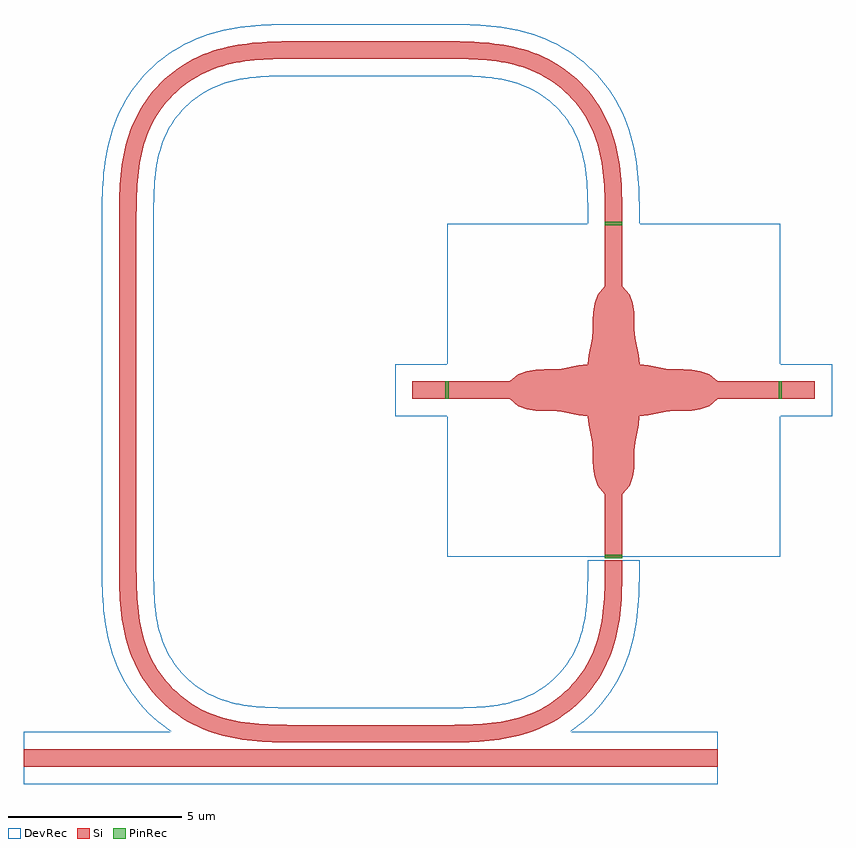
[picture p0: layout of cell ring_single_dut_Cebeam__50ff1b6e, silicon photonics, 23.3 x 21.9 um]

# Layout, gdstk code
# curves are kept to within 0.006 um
from math import pi, radians
import gdstk
lib = gdstk.Library(unit=1e-6, precision=1e-09)
def R(c, l, rs):  # rectangles x0, y0, x1, y1
    for r in rs: c.add(gdstk.rectangle(r[:2], r[2:], *l))
def P(c, l, *ps):  # polygons
    for p in ps: c.add(gdstk.Polygon(p, *l))
Si = (1, 0)
PinRec = (1, 10)
DevRec = (68, 0)

bend_euler_r5_a90_p0p5__ = lib.new_cell('bend_euler_R5_A90_P0p5__6fefacb1')
P(bend_euler_r5_a90_p0p5__, Si, [(0,-0.25),(0,0.25),(0.823,0.26),(1.36,0.294),(1.625,0.326),(1.886,0.37),(2.268,0.462),(2.634,0.59),(2.894,0.711),(3.02,0.78),(3.142,0.854),(3.376,1.018),(3.596,1.202),(3.699,1.301),(3.798,1.404),(3.982,1.624),(4.146,1.858),(4.22,1.98),(4.289,2.106),(4.41,2.366),(4.538,2.732),(4.63,3.114),(4.674,3.375),(4.706,3.64),(4.74,4.177),(4.75,5),(5.25,5),(5.24,4.159),(5.203,3.59),(5.169,3.304),(5.121,3.018),(5.018,2.592),(4.872,2.174),(4.806,2.023),(4.653,1.73),(4.568,1.589),(4.379,1.319),(4.167,1.067),(4.053,0.947),(3.933,0.833),(3.681,0.621),(3.411,0.432),(3.27,0.347),(3.125,0.267),(2.826,0.128),(2.408,-0.018),(1.982,-0.121),(1.696,-0.169),(1.41,-0.203),(0.841,-0.24)])
P(bend_euler_r5_a90_p0p5__, DevRec, [(0,-0.75),(0,0.75),(0.675,0.755),(1.061,0.772),(1.434,0.805),(1.673,0.839),(1.905,0.884),(2.236,0.975),(2.554,1.101),(2.873,1.276),(3.072,1.415),(3.258,1.571),(3.429,1.742),(3.657,2.026),(3.845,2.337),(3.948,2.558),(4.025,2.764),(4.089,2.983),(4.14,3.21),(4.208,3.689),(4.241,4.195),(4.25,5),(5.75,5),(5.74,4.142),(5.701,3.541),(5.664,3.234),(5.612,2.923),(5.498,2.452),(5.45,2.295),(5.334,1.982),(5.259,1.812),(5.086,1.48),(4.886,1.165),(4.775,1.015),(4.658,0.869),(4.406,0.594),(4.131,0.342),(3.985,0.225),(3.835,0.114),(3.52,-0.086),(3.188,-0.259),(3.018,-0.334),(2.705,-0.45),(2.548,-0.498),(2.077,-0.612),(1.766,-0.664),(1.459,-0.701),(0.858,-0.74)])

straight_l5_n2_csxs_sc = lib.new_cell('straight_L5_N2_CSxs_sc')
R(straight_l5_n2_csxs_sc, Si, [(0,-0.25,5,0.25)])
R(straight_l5_n2_csxs_sc, DevRec, [(0,-0.75,5,0.75)])

coupler90_g0p2_r5_bbend_ = lib.new_cell('coupler90_G0p2_R5_Bbend_35c79a67')
coupler90_g0p2_r5_bbend_.add(gdstk.Reference(bend_euler_r5_a90_p0p5__, (0,0.7)))
coupler90_g0p2_r5_bbend_.add(gdstk.Reference(straight_l5_n2_csxs_sc, (0,0)))

straight_l4_n2_csxs_sc = lib.new_cell('straight_L4_N2_CSxs_sc')
R(straight_l4_n2_csxs_sc, Si, [(0,-0.25,4,0.25)])
R(straight_l4_n2_csxs_sc, DevRec, [(0,-0.75,4,0.75)])

coupler_straight_l4_g0p2 = lib.new_cell('coupler_straight_L4_G0p2_CSxs_sc')
coupler_straight_l4_g0p2.add(gdstk.Reference(straight_l4_n2_csxs_sc, (0,0.7)))
coupler_straight_l4_g0p2.add(gdstk.Reference(straight_l4_n2_csxs_sc, (0,0)))

straight_l3_n2_csxs_sc = lib.new_cell('straight_L3_N2_CSxs_sc')
R(straight_l3_n2_csxs_sc, Si, [(0,-0.25,3,0.25)])
R(straight_l3_n2_csxs_sc, DevRec, [(0,-0.75,3,0.75)])

coupler_ring_g0p2_r5_lx_ = lib.new_cell('coupler_ring_G0p2_R5_LX_4f8af539')
coupler_ring_g0p2_r5_lx_.add(gdstk.Reference(coupler90_g0p2_r5_bbend_, (-4,0), rotation=pi, x_reflection=True))
coupler_ring_g0p2_r5_lx_.add(gdstk.Reference(coupler90_g0p2_r5_bbend_, (0,0)))
coupler_ring_g0p2_r5_lx_.add(gdstk.Reference(coupler_straight_l4_g0p2, (-4,0)))
coupler_ring_g0p2_r5_lx_.add(gdstk.Reference(straight_l3_n2_csxs_sc, (-12,0)))
coupler_ring_g0p2_r5_lx_.add(gdstk.Reference(straight_l3_n2_csxs_sc, (5,0)))

straight_l9p70000000000_ = lib.new_cell('straight_L9p70000000000_a51dc8c9')
R(straight_l9p70000000000_, Si, [(0,-0.25,9.7,0.25)])
R(straight_l9p70000000000_, DevRec, [(0,-0.75,9.7,0.75)])

ebeam_crossing4 = lib.new_cell('ebeam_crossing4')
P(ebeam_crossing4, Si, [(-0.25,-4.8),(-0.25,-3),(-0.46,-2.75),(-0.55,-2.5),(-0.59,-2.25),(-0.6,-1.75),(-0.62,-1.5),(-0.72,-1),(-0.75,-0.74),(-1,-0.72),(-1.5,-0.62),(-1.75,-0.6),(-2.25,-0.59),(-2.5,-0.55),(-2.75,-0.46),(-3,-0.25),(-4.8,-0.25),(-4.8,0.25),(-3,0.25),(-2.75,0.46),(-2.5,0.55),(-2.25,0.59),(-1.75,0.6),(-1.5,0.62),(-1,0.72),(-0.75,0.74),(-0.72,1),(-0.62,1.5),(-0.6,1.75),(-0.59,2.25),(-0.55,2.5),(-0.46,2.75),(-0.25,3),(-0.25,4.8),(0.25,4.8),(0.25,3),(0.46,2.75),(0.55,2.5),(0.59,2.25),(0.6,1.75),(0.62,1.5),(0.72,1),(0.74,0.75),(1,0.72),(1.5,0.62),(1.75,0.6),(2.25,0.59),(2.5,0.55),(2.75,0.46),(3,0.25),(4.8,0.25),(4.8,-0.25),(3,-0.25),(2.75,-0.46),(2.5,-0.55),(2.25,-0.59),(1.75,-0.6),(1.5,-0.62),(1,-0.72),(0.74,-0.75),(0.72,-1),(0.62,-1.5),(0.6,-1.75),(0.59,-2.25),(0.55,-2.5),(0.46,-2.75),(0.25,-3),(0.25,-4.8)])
R(ebeam_crossing4, DevRec, [(-4.8,-4.8,4.8,4.8)])
ebeam_crossing4.add(gdstk.FlexPath([(-4.75,0),(-4.85,0)], 0.5, ends="flush", simple_path=True, layer=1, datatype=10))  # PinRec
ebeam_crossing4.add(gdstk.FlexPath([(4.75,0),(4.85,0)], 0.5, ends="flush", simple_path=True, layer=1, datatype=10))  # PinRec
ebeam_crossing4.add(gdstk.FlexPath([(0,-4.75),(0,-4.85)], 0.5, ends="flush", simple_path=True, layer=1, datatype=10))  # PinRec
ebeam_crossing4.add(gdstk.FlexPath([(0,4.75),(0,4.85)], 0.5, ends="flush", simple_path=True, layer=1, datatype=10))  # PinRec
ebeam_crossing4.add(gdstk.Label('Component=ebeam_crossing4', (-4,-1), layer=68, texttype=0))
ebeam_crossing4.add(gdstk.Label('Lumerical_INTERCONNECT_library=Design kits/ebeam', (-4,-4), layer=68, texttype=0))
ebeam_crossing4.add(gdstk.Label('opt4', (4.8,0), layer=1, texttype=10))
ebeam_crossing4.add(gdstk.Label('opt2', (0,4.8), layer=1, texttype=10))
ebeam_crossing4.add(gdstk.Label('opt', (-4.8,0), layer=1, texttype=10))
ebeam_crossing4.add(gdstk.Label('opt3', (0,-4.8), layer=1, texttype=10))
ebeam_crossing4.add(gdstk.Label('Source: Wei Shi', (-4,-3), layer=10, texttype=0))

straight_one_pin_l1_csf_ = lib.new_cell('straight_one_pin_L1_CSF_a51960c0')
R(straight_one_pin_l1_csf_, Si, [(0,-0.25,1,0.25)])
R(straight_one_pin_l1_csf_, DevRec, [(-0.5,-0.75,1.5,0.75)])
straight_one_pin_l1_csf_.add(gdstk.FlexPath([(0.05,0),(-0.05,0)], 0.5, ends="flush", simple_path=True, layer=1, datatype=10))  # PinRec
straight_one_pin_l1_csf_.add(gdstk.Label('o1', (0,0), layer=1, texttype=10))

ebeam_crossing4_2ports = lib.new_cell('ebeam_crossing4_2ports')
ebeam_crossing4_2ports.add(gdstk.Reference(ebeam_crossing4, (0,0)))
ebeam_crossing4_2ports.add(gdstk.Reference(straight_one_pin_l1_csf_, (0,4.8), rotation=pi/2))
ebeam_crossing4_2ports.add(gdstk.Reference(straight_one_pin_l1_csf_, (0,-4.8), rotation=3*pi/2))

bend_euler_csxs_sc_r5 = lib.new_cell('bend_euler_CSxs_sc_R5')
P(bend_euler_csxs_sc_r5, Si, [(0,-0.25),(0,0.25),(0.823,0.26),(1.36,0.294),(1.625,0.326),(1.886,0.37),(2.268,0.462),(2.634,0.59),(2.894,0.711),(3.02,0.78),(3.142,0.854),(3.376,1.018),(3.596,1.202),(3.699,1.301),(3.798,1.404),(3.982,1.624),(4.146,1.858),(4.22,1.98),(4.289,2.106),(4.41,2.366),(4.538,2.732),(4.63,3.114),(4.674,3.375),(4.706,3.64),(4.74,4.177),(4.75,5),(5.25,5),(5.24,4.159),(5.203,3.59),(5.169,3.304),(5.121,3.018),(5.018,2.592),(4.872,2.174),(4.806,2.023),(4.653,1.73),(4.568,1.589),(4.379,1.319),(4.167,1.067),(4.053,0.947),(3.933,0.833),(3.681,0.621),(3.411,0.432),(3.27,0.347),(3.125,0.267),(2.826,0.128),(2.408,-0.018),(1.982,-0.121),(1.696,-0.169),(1.41,-0.203),(0.841,-0.24)])
P(bend_euler_csxs_sc_r5, DevRec, [(0,-0.75),(0,0.75),(0.675,0.755),(1.061,0.772),(1.434,0.805),(1.673,0.839),(1.905,0.884),(2.236,0.975),(2.554,1.101),(2.873,1.276),(3.072,1.415),(3.258,1.571),(3.429,1.742),(3.657,2.026),(3.845,2.337),(3.948,2.558),(4.025,2.764),(4.089,2.983),(4.14,3.21),(4.208,3.689),(4.241,4.195),(4.25,5),(5.75,5),(5.74,4.142),(5.701,3.541),(5.664,3.234),(5.612,2.923),(5.498,2.452),(5.45,2.295),(5.334,1.982),(5.259,1.812),(5.086,1.48),(4.886,1.165),(4.775,1.015),(4.658,0.869),(4.406,0.594),(4.131,0.342),(3.985,0.225),(3.835,0.114),(3.52,-0.086),(3.188,-0.259),(3.018,-0.334),(2.705,-0.45),(2.548,-0.498),(2.077,-0.612),(1.766,-0.664),(1.459,-0.701),(0.858,-0.74)])

ring_single_dut_cebeam__ = lib.new_cell('ring_single_dut_Cebeam__50ff1b6e')
ring_single_dut_cebeam__.add(gdstk.Reference(coupler_ring_g0p2_r5_lx_, (0,0)))
ring_single_dut_cebeam__.add(gdstk.Reference(straight_l9p70000000000_, (-9,15.4), rotation=3*pi/2))
ring_single_dut_cebeam__.add(gdstk.Reference(ebeam_crossing4_2ports, (5,10.6), rotation=pi/2))
ring_single_dut_cebeam__.add(gdstk.Reference(bend_euler_csxs_sc_r5, (-4,20.4), rotation=pi))
ring_single_dut_cebeam__.add(gdstk.Reference(bend_euler_csxs_sc_r5, (5,15.4), rotation=pi/2))
ring_single_dut_cebeam__.add(gdstk.Reference(straight_l4_n2_csxs_sc, (-4,20.4)))

lib.write_gds('ring_single_dut_Cebeam__50ff1b6e.gds')
